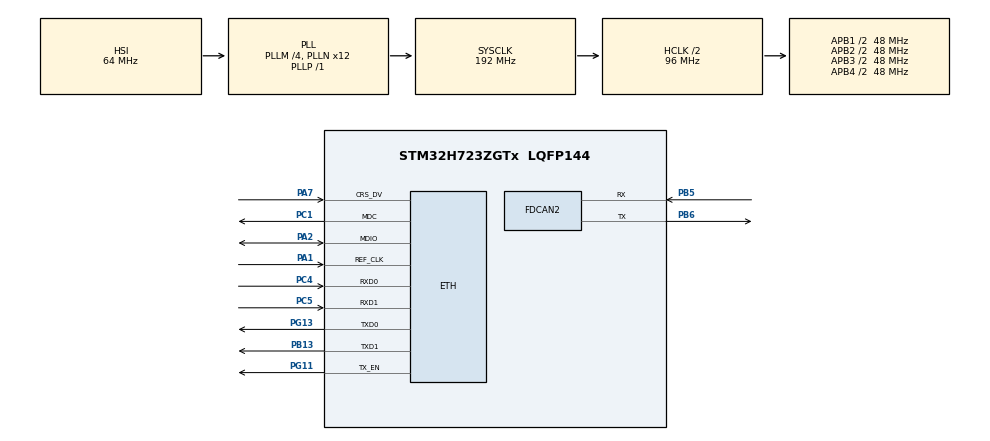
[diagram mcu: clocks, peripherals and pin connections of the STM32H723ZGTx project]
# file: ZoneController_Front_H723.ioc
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CORTEX_M7.default_mode_Activation=1
ETH.MACAddr=02\:00\:00\:00\:00\:02
ETH.MediaInterface=HAL_ETH_RMII_MODE
FDCAN2.AutoRetransmission=ENABLE
FDCAN2.CalculateBaudRateNominal=250000
FDCAN2.CalculateTimeBitNominal=4000
FDCAN2.CalculateTimeQuantumNominal=250.0
FDCAN2.MessageRAMOffset=0
FDCAN2.NominalPrescaler=12
FDCAN2.NominalSyncJumpWidth=2
FDCAN2.NominalTimeSeg1=13
FDCAN2.NominalTimeSeg2=2
FDCAN2.RxFifo0ElmtsNbr=8
FDCAN2.StdFiltersNbr=3
FDCAN2.TxBuffersNbr=0
FDCAN2.TxFifoQueueElmtsNbr=8
LWIP.BSP.number=1
LWIP.GATEWAY_ADDRESS=172.030.001.254
LWIP.IP_ADDRESS=172.030.001.201
LWIP.LWIP_DHCP=0
LWIP.NETMASK_ADDRESS=255.255.255.000
LWIP.Version=v2.2.1_Cube
LWIP0.BSP.STBoard=false
LWIP0.BSP.api=BSP_COMPONENT_DRIVER
LWIP0.BSP.component=LAN8742
LWIP0.BSP.instance=LAN8742
LWIP0.BSP.name=Driver_PHY
LWIP0.BSP.semaphore=S_LAN8742
LWIP0.BSP.solution=LAN8742
Mcu.Family=STM32H7
Mcu.Name=STM32H723ZGTx
Mcu.Package=LQFP144
NVIC.FDCAN2_IT0_IRQn=true\:0\:0\:false\:false\:true\:true\:true\:true
NVIC.PriorityGroup=NVIC_PRIORITYGROUP_4
PA1.Mode=RMII
PA1.Signal=ETH_REF_CLK
PA13(JTMS/SWDIO).GPIO_Label=SWDIO
PA13(JTMS/SWDIO).Signal=DEBUG_JTMS-SWDIO
PA14(JTCK/SWCLK).GPIO_Label=SWCLK
PA14(JTCK/SWCLK).Signal=DEBUG_JTCK-SWCLK
PA2.Mode=RMII
PA2.Signal=ETH_MDIO
PA7.Mode=RMII
PA7.Signal=ETH_CRS_DV
PB13.Mode=RMII
PB13.Signal=ETH_TXD1
PB5.Mode=FDCAN_Activate
PB5.Signal=FDCAN2_RX
PB6.Mode=FDCAN_Activate
PB6.Signal=FDCAN2_TX
PC1.Mode=RMII
PC1.Signal=ETH_MDC
PC14-OSC32_IN.Signal=RCC_OSC32_IN
PC15-OSC32_OUT.Signal=RCC_OSC32_OUT
PC4.Mode=RMII
PC4.Signal=ETH_RXD0
PC5.Mode=RMII
PC5.Signal=ETH_RXD1
PD8.GPIO_Label=STLK_VCP_RX
PD8.Signal=USART3_TX
PD9.GPIO_Label=STLK_VCP_TX
PD9.Signal=USART3_RX
PG11.Mode=RMII
PG11.Signal=ETH_TX_EN
PG13.Mode=RMII
PG13.Signal=ETH_TXD0
ProjectManager.HeapSize=0x200
ProjectManager.StackSize=0x400
ProjectManager.TargetToolchain=STM32CubeIDE
RCC.ADCFreq_Value=608000000
RCC.APB1Freq_Value=48000000
RCC.APB2Freq_Value=48000000
RCC.APB3Freq_Value=48000000
RCC.APB4Freq_Value=48000000
RCC.CortexFreq_Value=192000000
RCC.D1PPRE=RCC_APB3_DIV2
RCC.D2PPRE1=RCC_APB1_DIV2
RCC.D2PPRE2=RCC_APB2_DIV2
RCC.D3PPRE=RCC_APB4_DIV2
RCC.DIVM1=4
RCC.DIVM2=1
RCC.DIVN1=12
RCC.DIVN2=19
RCC.DIVP1=1
RCC.DIVQ1=4
RCC.HCLKFreq_Value=96000000
RCC.HPRE=RCC_HCLK_DIV2
RCC.HSE_VALUE=8000000
RCC.PLLFRACN=0
RCC.SYSCLKFreq_VALUE=192000000
RCC.SYSCLKSource=RCC_SYSCLKSOURCE_PLLCLK
RCC.USBCLockSelection=RCC_USBCLKSOURCE_HSI48
RCC.USBFreq_Value=48000000
VP_LWIP_VS_Enabled.Mode=Enabled
VP_MEMORYMAP_VS_MEMORYMAP.Mode=CurAppReg
board=NUCLEO-H723ZG

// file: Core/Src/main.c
/* USER CODE BEGIN Header */
/**
  ******************************************************************************
  * @file           : main.c
  * @brief          : Main program body
  ******************************************************************************
  * @attention
  *
  * Copyright (c) 2026 STMicroelectronics.
  * All rights reserved.
  *
  * This software is licensed under terms that can be found in the LICENSE file
  * in the root directory of this software component.
  * If no LICENSE file comes with this software, it is provided AS-IS.
  *
  ******************************************************************************
  */
/* USER CODE END Header */
#include "main.h"
#include "fdcan.h"
#include "lwip.h"
#include "gpio.h"

/* USER CODE BEGIN Includes */
#include "front_zone_network.h"
#include "front_telemetry.h"
/* USER CODE END Includes */

/* USER CODE BEGIN PV */

/* -------------------------------------------------------------------------- */
/* FDCAN2: Classical CAN 250 kbps                                              */
/* H723 -> F407/PCAN: ID 0x201                                                 */
/* F407 echo response expected: ID 0x281                                       */
/* -------------------------------------------------------------------------- */
static FDCAN_TxHeaderTypeDef can250_tx_header;
static FDCAN_RxHeaderTypeDef can250_rx_header;
static uint8_t can250_tx_data[8];
static uint8_t can250_rx_data[8];

volatile uint32_t can250_next_counter = 0;
volatile uint32_t can250_last_sent_counter = 0;
volatile uint32_t can250_last_received_counter = 0;

volatile uint32_t can250_tx_count = 0;
volatile uint32_t can250_rx_count = 0;
volatile uint32_t can250_rx_ok_count = 0;
volatile uint32_t can250_rx_bad_count = 0;
volatile uint32_t can250_tx_busy_count = 0;
volatile uint32_t can250_tx_error_count = 0;
volatile uint32_t can250_last_error = 0;
volatile uint32_t can250_tx_fifo_free = 0;

volatile FDCAN_ErrorCountersTypeDef can250_error_counters;
volatile FDCAN_ProtocolStatusTypeDef can250_protocol_status;

static uint32_t can250_last_tx_tick = 0;

/* Front F407 split signal frames received by H723 */
volatile uint32_t front_last_rx_id = 0U;
volatile uint32_t front_unexpected_rx_count = 0U;

volatile uint16_t f407_steering_adc = 0U;
volatile uint16_t f407_brake_adc = 0U;
volatile uint16_t f407_accel_adc = 0U;
volatile uint8_t f407_turn_left_output = 0U;
volatile uint8_t f407_turn_right_output = 0U;
volatile uint8_t f407_turn_switch_pressed = 0U;
volatile uint8_t f407_headlamp_output = 0U;
volatile int16_t f407_temperature_x10 = 0;
volatile uint16_t f407_humidity_x10 = 0U;
volatile uint8_t f407_dht11_valid = 0U;
volatile uint16_t f407_actuator_position = 0U;
volatile uint8_t f407_actuator_output_enable = 0U;
volatile uint8_t f407_steering_override_active = 0U;
volatile uint8_t f407_headlamp_override_active = 0U;
volatile uint8_t f407_can_busoff = 0U;

/* Per-ID receive counters for RTOS task separation and diagnostics */
volatile uint32_t f407_steering_rx_count = 0U;
volatile uint32_t f407_brake_rx_count = 0U;
volatile uint32_t f407_accel_rx_count = 0U;
volatile uint32_t f407_turn_left_rx_count = 0U;
volatile uint32_t f407_turn_right_rx_count = 0U;
volatile uint32_t f407_turn_switch_rx_count = 0U;
volatile uint32_t f407_headlamp_output_rx_count = 0U;
volatile uint32_t f407_temperature_rx_count = 0U;
volatile uint32_t f407_humidity_rx_count = 0U;
volatile uint32_t f407_dht11_valid_rx_count = 0U;
volatile uint32_t f407_actuator_position_rx_count = 0U;
volatile uint32_t f407_actuator_enable_rx_count = 0U;
volatile uint32_t f407_steering_override_rx_count = 0U;
volatile uint32_t f407_headlamp_override_rx_count = 0U;
volatile uint32_t f407_busoff_rx_count = 0U;

/* H723 -> Front F407 split command state */
volatile uint8_t front_steering_override_enable = 0U;
volatile uint8_t front_actuator_enable_command = 0U;
volatile uint8_t front_headlamp_override_enable = 0U;
volatile uint8_t front_headlamp_command = 0U;
volatile uint16_t front_actuator_target_command = 0U;
volatile uint8_t front_turn_override_enable = 0U;
volatile uint8_t front_turn_mode_command = 0U;

/* Counts successful insertion into FDCAN Tx FIFO, not bus-level completion. */
volatile uint32_t front_steering_override_tx_count = 0U;
volatile uint32_t front_actuator_enable_tx_count = 0U;
volatile uint32_t front_actuator_target_tx_count = 0U;
volatile uint32_t front_headlamp_override_tx_count = 0U;
volatile uint32_t front_headlamp_command_tx_count = 0U;
volatile uint32_t front_turn_override_tx_count = 0U;
volatile uint32_t front_turn_mode_tx_count = 0U;
volatile uint32_t front_command_tx_busy_count = 0U;
volatile uint32_t front_command_tx_error_count = 0U;
volatile uint32_t front_command_last_error = 0U;

static uint8_t front_command_scheduler_index = 0U;
static uint32_t front_steering_override_last_tx_tick = 0U;
static uint32_t front_actuator_enable_last_tx_tick = 0U;
static uint32_t front_actuator_target_last_tx_tick = 0U;
static uint32_t front_headlamp_override_last_tx_tick = 0U;
static uint32_t front_headlamp_command_last_tx_tick = 0U;
static uint32_t front_turn_override_last_tx_tick = 0U;
static uint32_t front_turn_mode_last_tx_tick = 0U;

/* USER CODE END PV */

void SystemClock_Config(void);
static void MPU_Config(void);
/* USER CODE BEGIN PFP */
static void CAN250_Start(void);
static void CAN250_SendPing(void);

static HAL_StatusTypeDef FrontCommand_SendU8(uint32_t identifier, uint8_t value);
static HAL_StatusTypeDef FrontCommand_SendU16(uint32_t identifier, uint16_t value);
static void FrontCommand_SchedulerInit(uint32_t now);
static void FrontCommand_SendNext(uint32_t now);

static void CAN_UpdateDiagnostics(void);

static void CAN_WriteU32LE(uint8_t *data, uint32_t value);
static uint32_t CAN_ReadU32LE(const uint8_t *data);
static void EthernetMPU_Config(void);
/* USER CODE END PFP */

/* USER CODE BEGIN 0 */

#define CAN250_TX_PERIOD_MS                     500U

/* F407 -> H723: one signal per Standard CAN ID */
#define CAN_ID_F407_STEERING_ADC                 0x210U
#define CAN_ID_F407_BRAKE_ADC                    0x211U
#define CAN_ID_F407_ACCEL_ADC                    0x212U
#define CAN_ID_F407_TURN_LEFT_OUTPUT             0x213U
#define CAN_ID_F407_TURN_RIGHT_OUTPUT            0x214U
#define CAN_ID_F407_TURN_SWITCH_PRESSED          0x215U
#define CAN_ID_F407_HEADLAMP_OUTPUT              0x216U
#define CAN_ID_F407_TEMPERATURE_X10              0x217U
#define CAN_ID_F407_HUMIDITY_X10                 0x218U
#define CAN_ID_F407_DHT11_VALID                  0x219U
#define CAN_ID_F407_ACTUATOR_POSITION            0x21AU
#define CAN_ID_F407_ACTUATOR_ENABLE              0x21BU
#define CAN_ID_F407_STEERING_OVERRIDE_ACTIVE     0x21CU
#define CAN_ID_F407_HEADLAMP_OVERRIDE_ACTIVE     0x21DU
#define CAN_ID_F407_CAN_BUSOFF                    0x21EU
#define CAN_ID_F407_ECHO                         0x281U

/* H723 -> F407: one command per Standard CAN ID */
#define CAN_ID_H723_STEERING_OVERRIDE            0x310U
#define CAN_ID_H723_ACTUATOR_ENABLE              0x311U
#define CAN_ID_H723_ACTUATOR_TARGET              0x312U
#define CAN_ID_H723_HEADLAMP_OVERRIDE            0x313U
#define CAN_ID_H723_HEADLAMP_COMMAND             0x314U
#define CAN_ID_H723_TURN_OVERRIDE                0x315U
#define CAN_ID_H723_TURN_MODE                    0x316U

#define FRONT_COMMAND_TX_PERIOD_MS               100U
#define FRONT_ACTUATOR_TARGET_MAX               4095U

/**
 * @brief Ethernet DMA와 LwIP 메모리가 위치하는 RAM_D2 전체를
 *        Normal, Shareable, Non-cacheable 영역으로 설정한다.
 *
 * RAM_D2:
 *   0x30000000 ~ 0x30007FFF (32 KB)
 *
 * CubeMX가 생성한 MPU Region 0은 그대로 두고 Region 1만 추가한다.
 */
static void EthernetMPU_Config(void)
{
    MPU_Region_InitTypeDef MPU_InitStruct = {0};

    HAL_MPU_Disable();

    MPU_InitStruct.Enable = MPU_REGION_ENABLE;
    MPU_InitStruct.Number = MPU_REGION_NUMBER1;
    MPU_InitStruct.BaseAddress = 0x30000000U;
    MPU_InitStruct.Size = MPU_REGION_SIZE_32KB;
    MPU_InitStruct.SubRegionDisable = 0x00U;
    MPU_InitStruct.TypeExtField = MPU_TEX_LEVEL1;
    MPU_InitStruct.AccessPermission = MPU_REGION_FULL_ACCESS;
    MPU_InitStruct.DisableExec = MPU_INSTRUCTION_ACCESS_DISABLE;
    MPU_InitStruct.IsShareable = MPU_ACCESS_SHAREABLE;
    MPU_InitStruct.IsCacheable = MPU_ACCESS_NOT_CACHEABLE;
    MPU_InitStruct.IsBufferable = MPU_ACCESS_NOT_BUFFERABLE;

    HAL_MPU_ConfigRegion(&MPU_InitStruct);
    HAL_MPU_Enable(MPU_PRIVILEGED_DEFAULT);
}

/**
 * @brief uint32_t 값을 Little Endian 형식으로 4바이트에 저장
 */
static void CAN_WriteU32LE(uint8_t *data, uint32_t value)
{
    data[0] = (uint8_t)(value & 0xFFU);
    data[1] = (uint8_t)((value >> 8) & 0xFFU);
    data[2] = (uint8_t)((value >> 16) & 0xFFU);
    data[3] = (uint8_t)((value >> 24) & 0xFFU);
}

/**
 * @brief Little Endian 형식의 4바이트를 uint32_t로 변환
 */
static uint32_t CAN_ReadU32LE(const uint8_t *data)
{
    return ((uint32_t)data[0]) |
           ((uint32_t)data[1] << 8) |
           ((uint32_t)data[2] << 16) |
           ((uint32_t)data[3] << 24);
}

/**
 * @brief FDCAN2 Classical CAN 250 kbps 시작
 *
 * 송신:
 *   Standard ID 0x201
 *   A5 5A 02 01 + 32-bit counter
 *
 * 수신:
 *   Standard ID 0x281
 *   5A A5 02 02 + same counter
 */
static void CAN250_Start(void)
{
    FDCAN_FilterTypeDef filter = {0};

    /* Filter 0: all split F407 status IDs from 0x210 through 0x21E. */
    filter.IdType = FDCAN_STANDARD_ID;
    filter.FilterIndex = 0U;
    filter.FilterType = FDCAN_FILTER_RANGE;
    filter.FilterConfig = FDCAN_FILTER_TO_RXFIFO0;
    filter.FilterID1 = CAN_ID_F407_STEERING_ADC;
    filter.FilterID2 = CAN_ID_F407_CAN_BUSOFF;
    if (HAL_FDCAN_ConfigFilter(&hfdcan2, &filter) != HAL_OK)
    {
        Error_Handler();
    }

    /* Filter 1: exact 0x281 ping response. */
    filter.FilterIndex = 1U;
    filter.FilterType = FDCAN_FILTER_MASK;
    filter.FilterID1 = CAN_ID_F407_ECHO;
    filter.FilterID2 = 0x7FFU;
    if (HAL_FDCAN_ConfigFilter(&hfdcan2, &filter) != HAL_OK)
    {
        Error_Handler();
    }

    if (HAL_FDCAN_ConfigGlobalFilter(
            &hfdcan2,
            FDCAN_REJECT,
            FDCAN_REJECT,
            FDCAN_REJECT_REMOTE,
            FDCAN_REJECT_REMOTE) != HAL_OK)
    {
        Error_Handler();
    }

    if (HAL_FDCAN_ActivateNotification(
            &hfdcan2,
            FDCAN_IT_RX_FIFO0_NEW_MESSAGE,
            0U) != HAL_OK)
    {
        Error_Handler();
    }

    if (HAL_FDCAN_Start(&hfdcan2) != HAL_OK)
    {
        Error_Handler();
    }

    can250_tx_header.Identifier = 0x201;
    can250_tx_header.IdType = FDCAN_STANDARD_ID;
    can250_tx_header.TxFrameType = FDCAN_DATA_FRAME;
    can250_tx_header.DataLength = FDCAN_DLC_BYTES_8;
    can250_tx_header.ErrorStateIndicator = FDCAN_ESI_ACTIVE;
    can250_tx_header.BitRateSwitch = FDCAN_BRS_OFF;
    can250_tx_header.FDFormat = FDCAN_CLASSIC_CAN;
    can250_tx_header.TxEventFifoControl = FDCAN_NO_TX_EVENTS;
    can250_tx_header.MessageMarker = 0U;

}

/**
 * @brief FDCAN2 250 kbps Ping 송신
 */
static void CAN250_SendPing(void)
{
    uint32_t counter;

    can250_tx_fifo_free = HAL_FDCAN_GetTxFifoFreeLevel(&hfdcan2);

    if (can250_tx_fifo_free == 0U)
    {
        can250_tx_busy_count++;
        can250_last_error = HAL_FDCAN_GetError(&hfdcan2);
        return;
    }

    counter = can250_next_counter++;

    can250_tx_data[0] = 0xA5;
    can250_tx_data[1] = 0x5A;
    can250_tx_data[2] = 0x02;
    can250_tx_data[3] = 0x01;
    CAN_WriteU32LE(&can250_tx_data[4], counter);

    if (HAL_FDCAN_AddMessageToTxFifoQ(
            &hfdcan2,
            &can250_tx_header,
            can250_tx_data) == HAL_OK)
    {
        can250_last_sent_counter = counter;
        can250_tx_count++;
    }
    else
    {
        can250_tx_error_count++;
        can250_last_error = HAL_FDCAN_GetError(&hfdcan2);
    }
}

static HAL_StatusTypeDef FrontCommand_SendRaw(uint32_t identifier,
                                                    const uint8_t data[8],
                                                    uint32_t data_length)
{
    FDCAN_TxHeaderTypeDef header = {0};

    if (HAL_FDCAN_GetTxFifoFreeLevel(&hfdcan2) == 0U)
    {
        front_command_tx_busy_count++;
        front_command_last_error = HAL_FDCAN_GetError(&hfdcan2);
        return HAL_BUSY;
    }

    header.Identifier = identifier & 0x7FFU;
    header.IdType = FDCAN_STANDARD_ID;
    header.TxFrameType = FDCAN_DATA_FRAME;
    header.DataLength = data_length;
    header.ErrorStateIndicator = FDCAN_ESI_ACTIVE;
    header.BitRateSwitch = FDCAN_BRS_OFF;
    header.FDFormat = FDCAN_CLASSIC_CAN;
    header.TxEventFifoControl = FDCAN_NO_TX_EVENTS;
    header.MessageMarker = 0U;

    if (HAL_FDCAN_AddMessageToTxFifoQ(&hfdcan2, &header, (uint8_t *)data) != HAL_OK)
    {
        front_command_tx_error_count++;
        front_command_last_error = HAL_FDCAN_GetError(&hfdcan2);
        return HAL_ERROR;
    }

    return HAL_OK;
}

static HAL_StatusTypeDef FrontCommand_SendU8(uint32_t identifier, uint8_t value)
{
    uint8_t data[8] = {0U};
    data[0] = value;
    return FrontCommand_SendRaw(identifier, data, FDCAN_DLC_BYTES_1);
}

static HAL_StatusTypeDef FrontCommand_SendU16(uint32_t identifier, uint16_t value)
{
    uint8_t data[8] = {0U};
    data[0] = (uint8_t)(value & 0xFFU);
    data[1] = (uint8_t)((value >> 8U) & 0xFFU);
    return FrontCommand_SendRaw(identifier, data, FDCAN_DLC_BYTES_2);
}

static void FrontCommand_SchedulerInit(uint32_t now)
{
    front_steering_override_last_tx_tick = now - FRONT_COMMAND_TX_PERIOD_MS;
    front_actuator_enable_last_tx_tick = now - FRONT_COMMAND_TX_PERIOD_MS;
    front_actuator_target_last_tx_tick = now - FRONT_COMMAND_TX_PERIOD_MS;
    front_headlamp_override_last_tx_tick = now - FRONT_COMMAND_TX_PERIOD_MS;
    front_headlamp_command_last_tx_tick = now - FRONT_COMMAND_TX_PERIOD_MS;
    front_turn_override_last_tx_tick = now - FRONT_COMMAND_TX_PERIOD_MS;
    front_turn_mode_last_tx_tick = now - FRONT_COMMAND_TX_PERIOD_MS;
    front_command_scheduler_index = 0U;
}

static void FrontCommand_SendNext(uint32_t now)
{
    uint8_t attempt;
    uint16_t target;
    HAL_StatusTypeDef status;

    for (attempt = 0U; attempt < 7U; attempt++)
    {
        status = HAL_ERROR;

        switch (front_command_scheduler_index)
        {
            case 0U:
                if ((uint32_t)(now - front_steering_override_last_tx_tick) >= FRONT_COMMAND_TX_PERIOD_MS)
                {
                    status = FrontCommand_SendU8(CAN_ID_H723_STEERING_OVERRIDE, front_steering_override_enable);
                    if (status == HAL_OK) { front_steering_override_last_tx_tick = now; front_steering_override_tx_count++; }
                }
                break;
            case 1U:
                if ((uint32_t)(now - front_actuator_enable_last_tx_tick) >= FRONT_COMMAND_TX_PERIOD_MS)
                {
                    status = FrontCommand_SendU8(CAN_ID_H723_ACTUATOR_ENABLE, front_actuator_enable_command);
                    if (status == HAL_OK) { front_actuator_enable_last_tx_tick = now; front_actuator_enable_tx_count++; }
                }
                break;
            case 2U:
                if ((uint32_t)(now - front_actuator_target_last_tx_tick) >= FRONT_COMMAND_TX_PERIOD_MS)
                {
                    target = front_actuator_target_command;
                    if (target > FRONT_ACTUATOR_TARGET_MAX) target = FRONT_ACTUATOR_TARGET_MAX;
                    status = FrontCommand_SendU16(CAN_ID_H723_ACTUATOR_TARGET, target);
                    if (status == HAL_OK) { front_actuator_target_last_tx_tick = now; front_actuator_target_tx_count++; }
                }
                break;
            case 3U:
                if ((uint32_t)(now - front_headlamp_override_last_tx_tick) >= FRONT_COMMAND_TX_PERIOD_MS)
                {
                    status = FrontCommand_SendU8(CAN_ID_H723_HEADLAMP_OVERRIDE, front_headlamp_override_enable);
                    if (status == HAL_OK) { front_headlamp_override_last_tx_tick = now; front_headlamp_override_tx_count++; }
                }
                break;
            case 4U:
                if ((uint32_t)(now - front_headlamp_command_last_tx_tick) >= FRONT_COMMAND_TX_PERIOD_MS)
                {
                    status = FrontCommand_SendU8(CAN_ID_H723_HEADLAMP_COMMAND, front_headlamp_command);
                    if (status == HAL_OK) { front_headlamp_command_last_tx_tick = now; front_headlamp_command_tx_count++; }
                }
                break;
            case 5U:
                if ((uint32_t)(now - front_turn_override_last_tx_tick) >= FRONT_COMMAND_TX_PERIOD_MS)
                {
                    status = FrontCommand_SendU8(CAN_ID_H723_TURN_OVERRIDE, front_turn_override_enable);
                    if (status == HAL_OK) { front_turn_override_last_tx_tick = now; front_turn_override_tx_count++; }
                }
                break;
            default:
                if ((uint32_t)(now - front_turn_mode_last_tx_tick) >= FRONT_COMMAND_TX_PERIOD_MS)
                {
                    status = FrontCommand_SendU8(CAN_ID_H723_TURN_MODE,
                                                 (front_turn_mode_command <= 2U) ? front_turn_mode_command : 0U);
                    if (status == HAL_OK) { front_turn_mode_last_tx_tick = now; front_turn_mode_tx_count++; }
                }
                break;
        }

        front_command_scheduler_index++;
        if (front_command_scheduler_index >= 7U) front_command_scheduler_index = 0U;
        if ((status == HAL_OK) || (status == HAL_BUSY)) return;
    }
}

/**
 * @brief FDCAN2 hardware state를 디버거용 변수에 갱신
 */
static void CAN_UpdateDiagnostics(void)
{
    can250_tx_fifo_free = HAL_FDCAN_GetTxFifoFreeLevel(&hfdcan2);

    if (HAL_FDCAN_GetErrorCounters(
            &hfdcan2,
            (FDCAN_ErrorCountersTypeDef *)&can250_error_counters) != HAL_OK)
    {
        can250_last_error = HAL_FDCAN_GetError(&hfdcan2);
    }

    if (HAL_FDCAN_GetProtocolStatus(
            &hfdcan2,
            (FDCAN_ProtocolStatusTypeDef *)&can250_protocol_status) != HAL_OK)
    {
        can250_last_error = HAL_FDCAN_GetError(&hfdcan2);
    }
}

/* USER CODE END 0 */

int main(void)
{

  /* MPU Configuration--------------------------------------------------------*/
  MPU_Config();

  /* MCU Configuration--------------------------------------------------------*/

  /* Reset of all peripherals, Initializes the Flash interface and the Systick. */
  HAL_Init();

  /* USER CODE BEGIN Init */

  EthernetMPU_Config();

  /* USER CODE END Init */

  /* Configure the system clock */
  SystemClock_Config();

  /* Initialize all configured peripherals */
  MX_GPIO_Init();
  MX_FDCAN2_Init();
  MX_LWIP_Init();
  /* USER CODE BEGIN 2 */

  CAN250_Start();

  {
      uint32_t start_tick = HAL_GetTick();

      /* Send the first 0x201 ping immediately after startup. */
      can250_last_tx_tick = start_tick - CAN250_TX_PERIOD_MS;

      FrontCommand_SchedulerInit(start_tick);

      if (FrontZoneNetwork_Init() != ERR_OK)
      {
          Error_Handler();
      }

      /* Telemetry stream toward the Jetson (/dev/vehicle_status). */
      if (FrontTelemetry_Init() != ERR_OK)
      {
          Error_Handler();
      }
  }

  /* USER CODE END 2 */

  /* Infinite loop */
  /* USER CODE BEGIN WHILE */
  while (1)
  {
      uint32_t now = HAL_GetTick();

      CAN_UpdateDiagnostics();

      if ((now - can250_last_tx_tick) >= CAN250_TX_PERIOD_MS)
      {
          can250_last_tx_tick = now;
          CAN250_SendPing();
      }

      FrontCommand_SendNext(now);

      FrontZoneNetwork_Process(now);

      /* Standalone(NO_SYS=1) LwIP packet, timeout, link processing */
      MX_LWIP_Process();

      /* Publish the parsed CAN state table to the Jetson (10 Hz). */
      {
          struct ft_values v;

          v.steering_adc = f407_steering_adc;
          v.accel_adc    = f407_accel_adc;
          v.brake_adc    = f407_brake_adc;
          v.actuator_pos = f407_actuator_position;
          v.temp_x10     = f407_temperature_x10;
          v.humidity_x10 = f407_humidity_x10;
          v.dht_valid    = f407_dht11_valid;
          v.turn_left    = f407_turn_left_output;
          v.turn_right   = f407_turn_right_output;
          v.headlamp     = f407_headlamp_output;
          v.busoff       = f407_can_busoff;

          FrontTelemetry_Process(&v);
      }

    /* USER CODE END WHILE */

  }
}

void SystemClock_Config(void)
{
  RCC_OscInitTypeDef RCC_OscInitStruct = {0};
  RCC_ClkInitTypeDef RCC_ClkInitStruct = {0};

  /** Supply configuration update enable
  */
  HAL_PWREx_ConfigSupply(PWR_LDO_SUPPLY);

  /** Configure the main internal regulator output voltage
  */
  __HAL_PWR_VOLTAGESCALING_CONFIG(PWR_REGULATOR_VOLTAGE_SCALE2);

  while(!__HAL_PWR_GET_FLAG(PWR_FLAG_VOSRDY)) {}

  /** Initializes the RCC Oscillators according to the specified parameters
  * in the RCC_OscInitTypeDef structure.
  */
  RCC_OscInitStruct.OscillatorType = RCC_OSCILLATORTYPE_HSI;
  RCC_OscInitStruct.HSIState = RCC_HSI_DIV1;
  RCC_OscInitStruct.HSICalibrationValue = 64;
  RCC_OscInitStruct.PLL.PLLState = RCC_PLL_ON;
  RCC_OscInitStruct.PLL.PLLSource = RCC_PLLSOURCE_HSI;
  RCC_OscInitStruct.PLL.PLLM = 4;
  RCC_OscInitStruct.PLL.PLLN = 12;
  RCC_OscInitStruct.PLL.PLLP = 1;
  RCC_OscInitStruct.PLL.PLLQ = 4;
  RCC_OscInitStruct.PLL.PLLR = 2;
  RCC_OscInitStruct.PLL.PLLRGE = RCC_PLL1VCIRANGE_3;
  RCC_OscInitStruct.PLL.PLLVCOSEL = RCC_PLL1VCOWIDE;
  RCC_OscInitStruct.PLL.PLLFRACN = 0;
  if (HAL_RCC_OscConfig(&RCC_OscInitStruct) != HAL_OK)
  {
    Error_Handler();
  }

  /** Initializes the CPU, AHB and APB buses clocks
  */
  RCC_ClkInitStruct.ClockType = RCC_CLOCKTYPE_HCLK|RCC_CLOCKTYPE_SYSCLK
                              |RCC_CLOCKTYPE_PCLK1|RCC_CLOCKTYPE_PCLK2
                              |RCC_CLOCKTYPE_D3PCLK1|RCC_CLOCKTYPE_D1PCLK1;
  RCC_ClkInitStruct.SYSCLKSource = RCC_SYSCLKSOURCE_PLLCLK;
  RCC_ClkInitStruct.SYSCLKDivider = RCC_SYSCLK_DIV1;
  RCC_ClkInitStruct.AHBCLKDivider = RCC_HCLK_DIV2;
  RCC_ClkInitStruct.APB3CLKDivider = RCC_APB3_DIV2;
  RCC_ClkInitStruct.APB1CLKDivider = RCC_APB1_DIV2;
  RCC_ClkInitStruct.APB2CLKDivider = RCC_APB2_DIV2;
  RCC_ClkInitStruct.APB4CLKDivider = RCC_APB4_DIV2;

  if (HAL_RCC_ClockConfig(&RCC_ClkInitStruct, FLASH_LATENCY_1) != HAL_OK)
  {
    Error_Handler();
  }
}

/* USER CODE BEGIN 4 */

/**
 * @brief FDCAN RX FIFO0 새 메시지 수신 콜백
 */
void HAL_FDCAN_RxFifo0Callback(
    FDCAN_HandleTypeDef *hfdcan,
    uint32_t RxFifo0ITs)
{
    if (((RxFifo0ITs & FDCAN_IT_RX_FIFO0_NEW_MESSAGE) == 0U) ||
        (hfdcan->Instance != FDCAN2))
    {
        return;
    }

    while (HAL_FDCAN_GetRxFifoFillLevel(hfdcan, FDCAN_RX_FIFO0) > 0U)
    {
        if (HAL_FDCAN_GetRxMessage(
                hfdcan,
                FDCAN_RX_FIFO0,
                &can250_rx_header,
                can250_rx_data) != HAL_OK)
        {
            can250_rx_bad_count++;
            can250_last_error = HAL_FDCAN_GetError(hfdcan);
            return;
        }

        can250_rx_count++;
        front_last_rx_id = can250_rx_header.Identifier;

        if ((can250_rx_header.IdType != FDCAN_STANDARD_ID) ||
            (can250_rx_header.RxFrameType != FDCAN_DATA_FRAME))
        {
            can250_rx_bad_count++;
            continue;
        }

        switch (can250_rx_header.Identifier)
        {
            case CAN_ID_F407_STEERING_ADC:
                if (can250_rx_header.DataLength == FDCAN_DLC_BYTES_2)
                {
                    f407_steering_adc =
                        (uint16_t)((uint16_t)can250_rx_data[0] |
                                   ((uint16_t)can250_rx_data[1] << 8U));
                    f407_steering_rx_count++;
                }
                else can250_rx_bad_count++;
                break;

            case CAN_ID_F407_BRAKE_ADC:
                if (can250_rx_header.DataLength == FDCAN_DLC_BYTES_2)
                {
                    f407_brake_adc =
                        (uint16_t)((uint16_t)can250_rx_data[0] |
                                   ((uint16_t)can250_rx_data[1] << 8U));
                    f407_brake_rx_count++;
                }
                else can250_rx_bad_count++;
                break;

            case CAN_ID_F407_ACCEL_ADC:
                if (can250_rx_header.DataLength == FDCAN_DLC_BYTES_2)
                {
                    f407_accel_adc =
                        (uint16_t)((uint16_t)can250_rx_data[0] |
                                   ((uint16_t)can250_rx_data[1] << 8U));
                    f407_accel_rx_count++;
                }
                else can250_rx_bad_count++;
                break;

            case CAN_ID_F407_TURN_LEFT_OUTPUT:
                if (can250_rx_header.DataLength == FDCAN_DLC_BYTES_1)
                {
                    f407_turn_left_output = (can250_rx_data[0] != 0U) ? 1U : 0U;
                    f407_turn_left_rx_count++;
                }
                else can250_rx_bad_count++;
                break;

            case CAN_ID_F407_TURN_RIGHT_OUTPUT:
                if (can250_rx_header.DataLength == FDCAN_DLC_BYTES_1)
                {
                    f407_turn_right_output = (can250_rx_data[0] != 0U) ? 1U : 0U;
                    f407_turn_right_rx_count++;
                }
                else can250_rx_bad_count++;
                break;

            case CAN_ID_F407_TURN_SWITCH_PRESSED:
                if (can250_rx_header.DataLength == FDCAN_DLC_BYTES_1)
                {
                    f407_turn_switch_pressed = (can250_rx_data[0] != 0U) ? 1U : 0U;
                    f407_turn_switch_rx_count++;
                }
                else can250_rx_bad_count++;
                break;

            case CAN_ID_F407_HEADLAMP_OUTPUT:
                if (can250_rx_header.DataLength == FDCAN_DLC_BYTES_1)
                {
                    f407_headlamp_output = (can250_rx_data[0] != 0U) ? 1U : 0U;
                    f407_headlamp_output_rx_count++;
                }
                else can250_rx_bad_count++;
                break;

            case CAN_ID_F407_TEMPERATURE_X10:
                if (can250_rx_header.DataLength == FDCAN_DLC_BYTES_2)
                {
                    f407_temperature_x10 =
                        (int16_t)((uint16_t)can250_rx_data[0] |
                                  ((uint16_t)can250_rx_data[1] << 8U));
                    f407_temperature_rx_count++;
                }
                else can250_rx_bad_count++;
                break;

            case CAN_ID_F407_HUMIDITY_X10:
                if (can250_rx_header.DataLength == FDCAN_DLC_BYTES_2)
                {
                    f407_humidity_x10 =
                        (uint16_t)((uint16_t)can250_rx_data[0] |
                                   ((uint16_t)can250_rx_data[1] << 8U));
                    f407_humidity_rx_count++;
                }
                else can250_rx_bad_count++;
                break;

            case CAN_ID_F407_DHT11_VALID:
                if (can250_rx_header.DataLength == FDCAN_DLC_BYTES_1)
                {
                    f407_dht11_valid = (can250_rx_data[0] != 0U) ? 1U : 0U;
                    f407_dht11_valid_rx_count++;
                }
                else can250_rx_bad_count++;
                break;

            case CAN_ID_F407_ACTUATOR_POSITION:
                if (can250_rx_header.DataLength == FDCAN_DLC_BYTES_2)
                {
                    f407_actuator_position =
                        (uint16_t)((uint16_t)can250_rx_data[0] |
                                   ((uint16_t)can250_rx_data[1] << 8U));
                    f407_actuator_position_rx_count++;
                }
                else can250_rx_bad_count++;
                break;

            case CAN_ID_F407_ACTUATOR_ENABLE:
                if (can250_rx_header.DataLength == FDCAN_DLC_BYTES_1)
                {
                    f407_actuator_output_enable = (can250_rx_data[0] != 0U) ? 1U : 0U;
                    f407_actuator_enable_rx_count++;
                }
                else can250_rx_bad_count++;
                break;

            case CAN_ID_F407_STEERING_OVERRIDE_ACTIVE:
                if (can250_rx_header.DataLength == FDCAN_DLC_BYTES_1)
                {
                    f407_steering_override_active = (can250_rx_data[0] != 0U) ? 1U : 0U;
                    f407_steering_override_rx_count++;
                }
                else can250_rx_bad_count++;
                break;

            case CAN_ID_F407_HEADLAMP_OVERRIDE_ACTIVE:
                if (can250_rx_header.DataLength == FDCAN_DLC_BYTES_1)
                {
                    f407_headlamp_override_active = (can250_rx_data[0] != 0U) ? 1U : 0U;
                    f407_headlamp_override_rx_count++;
                }
                else can250_rx_bad_count++;
                break;

            case CAN_ID_F407_CAN_BUSOFF:
                if (can250_rx_header.DataLength == FDCAN_DLC_BYTES_1)
                {
                    f407_can_busoff = (can250_rx_data[0] != 0U) ? 1U : 0U;
                    f407_busoff_rx_count++;
                }
                else can250_rx_bad_count++;
                break;

            case CAN_ID_F407_ECHO:
                if ((can250_rx_header.DataLength == FDCAN_DLC_BYTES_8) &&
                    (can250_rx_data[0] == 0x5AU) &&
                    (can250_rx_data[1] == 0xA5U) &&
                    (can250_rx_data[2] == 0x02U) &&
                    (can250_rx_data[3] == 0x02U))
                {
                    can250_last_received_counter = CAN_ReadU32LE(&can250_rx_data[4]);
                    if (can250_last_received_counter == can250_last_sent_counter)
                    {
                        can250_rx_ok_count++;
                    }
                    else
                    {
                        can250_rx_bad_count++;
                    }
                }
                else
                {
                    can250_rx_bad_count++;
                }
                break;

            default:
                front_unexpected_rx_count++;
                break;
        }
    }
}

/**
 * @brief FDCAN 오류 콜백
 */
void HAL_FDCAN_ErrorCallback(FDCAN_HandleTypeDef *hfdcan)
{
    if (hfdcan->Instance == FDCAN2)
    {
        can250_last_error = HAL_FDCAN_GetError(hfdcan);
    }
}

/* USER CODE END 4 */

 /* MPU Configuration */

void MPU_Config(void)
{
  MPU_Region_InitTypeDef MPU_InitStruct = {0};

  /* Disables the MPU */
  HAL_MPU_Disable();

  /** Initializes and configures the Region and the memory to be protected
  */
  MPU_InitStruct.Enable = MPU_REGION_ENABLE;
  MPU_InitStruct.Number = MPU_REGION_NUMBER0;
  MPU_InitStruct.BaseAddress = 0x0;
  MPU_InitStruct.Size = MPU_REGION_SIZE_4GB;
  MPU_InitStruct.SubRegionDisable = 0x87;
  MPU_InitStruct.TypeExtField = MPU_TEX_LEVEL0;
  MPU_InitStruct.AccessPermission = MPU_REGION_NO_ACCESS;
  MPU_InitStruct.DisableExec = MPU_INSTRUCTION_ACCESS_DISABLE;
  MPU_InitStruct.IsShareable = MPU_ACCESS_SHAREABLE;
  MPU_InitStruct.IsCacheable = MPU_ACCESS_NOT_CACHEABLE;
  MPU_InitStruct.IsBufferable = MPU_ACCESS_NOT_BUFFERABLE;

  HAL_MPU_ConfigRegion(&MPU_InitStruct);
  /* Enables the MPU */
  HAL_MPU_Enable(MPU_PRIVILEGED_DEFAULT);

}

void Error_Handler(void)
{
  __disable_irq();
  while (1)
  {
  }
}
